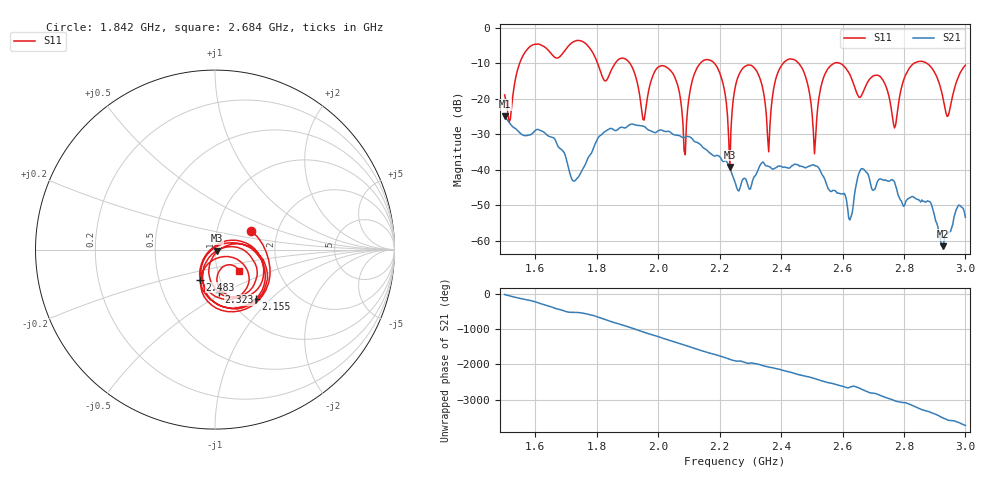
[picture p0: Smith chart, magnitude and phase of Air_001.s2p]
# HZ S RI R 50
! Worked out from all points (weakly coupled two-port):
!   404 points, 1.5 GHz to 3 GHz, reference 50 ohm
!   highest |S21| = -24.95 dB at 1.5 GHz (marker M1); lowest = -61.5 dB at 2.926 GHz (marker M2)
!   lowest |S11| = -39.2 dB at 2.233 GHz (marker M3), VSWR 1.02, Z = 51 - j0.529 ohm
!   |S11| at or under -10 dB: 1.908 GHz to 2.137 GHz (228.7 MHz wide, 11.3 % of centre); 2.183 GHz to 2.406 GHz (223.4 MHz wide, 9.73 % of centre); 2.592 GHz to 2.832 GHz (239.7 MHz wide, 8.84 % of centre) (the widest 3 of 7)
!   S12 and S22 are empty: the file has one direction only
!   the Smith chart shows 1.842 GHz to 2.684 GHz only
!   S11 on the Smith chart (normalised r, x): 1.842 GHz: 1.46, +0.32; 2.155 GHz: 1.30, -0.82; 2.323 GHz: 0.93, -0.47; 2.483 GHz: 0.80, -0.28; 2.684 GHz: 1.27, -0.31
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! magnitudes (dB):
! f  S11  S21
! 1.5 GHz  -18.9  -24.9
! 1.586 GHz  -5.1  -30.0
! 1.753 GHz  -3.8  -40.0
! 1.842 GHz  -12.9  -28.4
! 1.906 GHz  -9.7  -27.4
! 1.954 GHz  -26.0  -27.8
! 2.002 GHz  -10.9  -28.9
! 2.088 GHz  -35.7  -30.8
! 2.155 GHz  -9.0  -34.2
! 2.233 GHz  -39.2  -39.6
! 2.252 GHz  -16.2  -43.9
! 2.323 GHz  -12.5  -40.6
! 2.36 GHz  -34.9  -39.0
! 2.404 GHz  -10.2  -39.2
! 2.483 GHz  -14.6  -39.3
! 2.501 GHz  -24.5  -38.7
! 2.624 GHz  -13.2  -54.1
! 2.684 GHz  -15.0  -41.3
! 2.751 GHz  -19.1  -43.2
! 2.855 GHz  -9.4  -49.1
! 2.926 GHz  -19.1  -61.5
! 3 GHz  -10.5  -53.4
